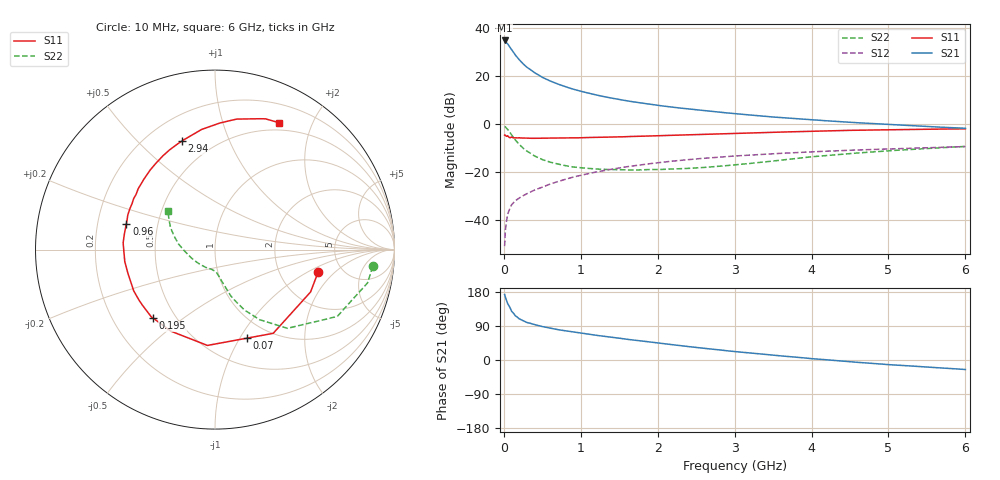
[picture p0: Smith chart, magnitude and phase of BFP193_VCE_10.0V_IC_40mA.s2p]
! Infineon Technologies  Discrete & RF Semiconductors
! BFP193
! VCE = 10.0V,  IC =  40 mA
! Common Emitter S-Parameters:  Jan 2016
# GHz  S  MA  R  50
!  f  S11  S21  S12  S22
! GHz  MAG  ANG  MAG  ANG  MAG  ANG  MAG  ANG
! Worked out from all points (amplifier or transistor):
!   210 points, 10 MHz to 6 GHz, reference 50 ohm
!   highest |S21| = 34.9 dB at 10 MHz (marker M1)
!   |S21| within 3 dB of that: start of sweep to 82.34 MHz
!   unconditionally stable (mu >= 1): 682.7 MHz to 4.141 GHz
!   at 185 MHz: K = 0.60, MSG = 29.4 dB, |S12| = -31.3 dB
!   at 1.52 GHz: K = 1.07, MAG = 12.6 dB, |S12| = -18.3 dB
!   at 6 GHz: K = 0.93, MSG = 3.8 dB, |S12| = -9.4 dB
!   S11 on the Smith chart (normalised r, x): 10 MHz: 3.35, -1.25; 70 MHz: 0.79, -1.07; 195 MHz: 0.38, -0.39; 960 MHz: 0.33, +0.13; 2.94 GHz: 0.34, +0.68; 6 GHz: 0.41, +1.55
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0.01  0.5885 -12.0  55.7 172.8  0.0028 72.4  0.8841 -6.1
0.02  0.5825 -23.9  53.32 165.3  0.0059 72.6  0.8699 -12.3
0.05  0.5681 -55.2  47.4 148.6  0.013 65.8  0.7763 -28.7
0.07  0.5245 -70.2  42.26 142.0  0.0159 61.4  0.6957 -35.0
0.1  0.5356 -94.5  35.96 128.9  0.0204 57.1  0.5958 -47.4
0.14  0.5131 -113.5  29.07 119.5  0.024 53.9  0.4874 -55.1
0.15  0.5167 -118.4  27.51 116.5  0.0249 53.3  0.4621 -57.6
0.195  0.5144 -132.1  22.56 109.6  0.028 52.8  0.3827 -63.2
0.24  0.5094 -142.4  18.85 104.4  0.0311 52.8  0.324 -67.2
0.3  0.5079 -153.0  15.34 99.0  0.035 55.1  0.2718 -71.2
0.4  0.5028 -164.6  11.78 93.1  0.0416 57.0  0.2142 -74.9
0.5  0.5071 -172.4  9.461 88.2  0.0477 58.9  0.1805 -77.9
0.7  0.5131 175.7  6.858 80.1  0.0625 60.6  0.1455 -82.5
0.96  0.5142 163.9  5.035 72.2  0.0818 60.2  0.1237 -88.0
1.02  0.5169 161.4  4.744 70.4  0.0861 60.1  0.121 -89.5
1.4  0.535 147.9  3.47 60.1  0.1133 57.1  0.1119 -99.9
2.02  0.571 129.6  2.432 44.6  0.1563 50.2  0.1119 -122.3
2.94  0.6319 107.0  1.681 23.5  0.211 38.8  0.1371 -158.8
3.1  0.642 103.8  1.594 20.4  0.2192 36.8  0.1446 -164.4
4.1  0.7115 86.2  1.195 2.1  0.2663 25.2  0.213 168.9
5.1  0.7612 73.3  0.959 -13.4  0.3047 14.4  0.2819 152.2
6  0.7917 63.3  0.815 -25.1  0.3372 5.1  0.3398 140.4
